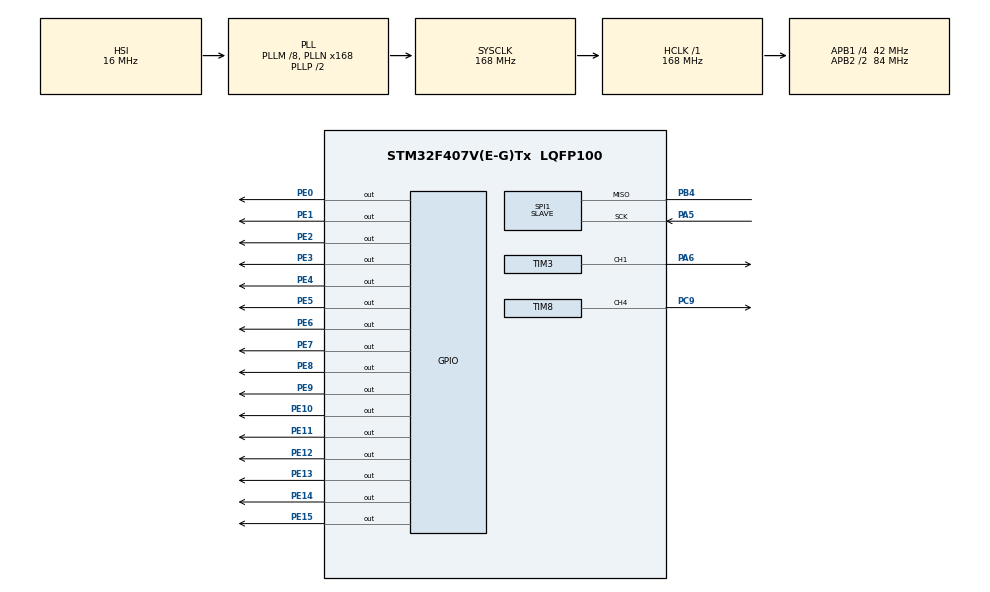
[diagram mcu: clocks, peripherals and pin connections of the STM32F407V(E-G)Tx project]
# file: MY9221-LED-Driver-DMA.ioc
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Dma.MEMTOMEM.0.Direction=DMA_MEMORY_TO_MEMORY
Dma.MEMTOMEM.0.FIFOMode=DMA_FIFOMODE_ENABLE
Dma.MEMTOMEM.0.FIFOThreshold=DMA_FIFO_THRESHOLD_1QUARTERFULL
Dma.MEMTOMEM.0.Instance=DMA2_Stream1
Dma.MEMTOMEM.0.MemBurst=DMA_MBURST_SINGLE
Dma.MEMTOMEM.0.MemDataAlignment=DMA_MDATAALIGN_WORD
Dma.MEMTOMEM.0.MemInc=DMA_MINC_DISABLE
Dma.MEMTOMEM.0.Mode=DMA_NORMAL
Dma.MEMTOMEM.0.PeriphBurst=DMA_PBURST_SINGLE
Dma.MEMTOMEM.0.PeriphDataAlignment=DMA_PDATAALIGN_WORD
Dma.MEMTOMEM.0.PeriphInc=DMA_PINC_DISABLE
Dma.MEMTOMEM.0.Priority=DMA_PRIORITY_MEDIUM
Dma.Request0=MEMTOMEM
Mcu.Family=STM32F4
Mcu.Name=STM32F407V(E-G)Tx
Mcu.Package=LQFP100
NVIC.PriorityGroup=NVIC_PRIORITYGROUP_0
NVIC.TIM8_UP_TIM13_IRQn=true\:0\:0\:false\:false\:true\:true\:true
PA5.Mode=Simplex_Bidirectional_Slave
PA5.Signal=SPI1_SCK
PA6.Signal=S_TIM3_CH1
PB4.Mode=Simplex_Bidirectional_Slave
PB4.Signal=SPI1_MISO
PC9.Signal=S_TIM8_CH4
PE0.Signal=GPIO_Output
PE1.Signal=GPIO_Output
PE10.Signal=GPIO_Output
PE11.Signal=GPIO_Output
PE12.Signal=GPIO_Output
PE13.Signal=GPIO_Output
PE14.Signal=GPIO_Output
PE15.Signal=GPIO_Output
PE2.Signal=GPIO_Output
PE3.Signal=GPIO_Output
PE4.Signal=GPIO_Output
PE5.Signal=GPIO_Output
PE6.Signal=GPIO_Output
PE7.Signal=GPIO_Output
PE8.Signal=GPIO_Output
PE9.Signal=GPIO_Output
ProjectManager.HeapSize=0x200
ProjectManager.StackSize=0x400
ProjectManager.TargetToolchain=STM32CubeIDE
RCC.48MHZClocksFreq_Value=48000000
RCC.AHBFreq_Value=168000000
RCC.APB1CLKDivider=RCC_HCLK_DIV4
RCC.APB1Freq_Value=42000000
RCC.APB1TimFreq_Value=84000000
RCC.APB2CLKDivider=RCC_HCLK_DIV2
RCC.APB2Freq_Value=84000000
RCC.APB2TimFreq_Value=168000000
RCC.CortexFreq_Value=168000000
RCC.HCLKFreq_Value=168000000
RCC.HSE_VALUE=8000000
RCC.HSI_VALUE=16000000
RCC.LSE_VALUE=32768
RCC.PLLM=8
RCC.PLLN=168
RCC.PLLQ=7
RCC.SYSCLKFreq_VALUE=168000000
RCC.SYSCLKSource=RCC_SYSCLKSOURCE_PLLCLK
RCC.VCOOutputFreq_Value=336000000
SH.S_TIM3_CH1.0=TIM3_CH1,PWM Generation1 CH1
SH.S_TIM8_CH4.0=TIM8_CH4,PWM Generation4 CH4
SPI1.Direction=SPI_DIRECTION_1LINE
SPI1.Mode=SPI_MODE_SLAVE
SPI1.VirtualType=VM_SLAVE
TIM3.AutoReloadPreload=TIM_AUTORELOAD_PRELOAD_ENABLE
TIM3.Channel-PWM\ Generation1\ CH1=TIM_CHANNEL_1
TIM3.Period=100
TIM8.AutoReloadPreload=TIM_AUTORELOAD_PRELOAD_ENABLE
TIM8.Channel-PWM\ Generation4\ CH4=TIM_CHANNEL_4
TIM8.Period=100
VP_TIM3_VS_ClockSourceINT.Mode=Internal
VP_TIM8_VS_ClockSourceINT.Mode=Internal
board=STM32F407G-DISC1

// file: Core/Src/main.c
/* USER CODE BEGIN Header */
/**
  ******************************************************************************
  * @file           : main.c
  * @brief          : Main program body
  ******************************************************************************
  * @attention
  *
  * <h2><center>&copy; Copyright (c) 2021 STMicroelectronics.
  * All rights reserved.</center></h2>
  *
  * This software component is licensed by ST under Ultimate Liberty license
  * SLA0044, the "License"; You may not use this file except in compliance with
  * the License. You may obtain a copy of the License at:
  *                             www.st.com/SLA0044
  *
  ******************************************************************************
  */
/* USER CODE END Header */
#include "main.h"

/* USER CODE BEGIN Includes */
#include "stdbool.h"
#include <MY9221.h>
/* USER CODE END Includes */

/* USER CODE BEGIN PD */
#define period_data 90
#define period_clk 90

#define hspd 	0
/* HSPD: Iout Tr/Tf select
 * 0: Iout slow mode
 * 1: Iout fast mode
*/
#define bs 		0
/* BS: Grayscale resolution select
 * 0: 8-bit grayscale application
 * 1: 12-bit grayscale application
 * 2: 14-bit grayscale application
 * 3: 16-bit grayscale application
 */
#define gck		0
/* GCK: Internal oscillator frequency select
 * 0: Original frequency (8.6MHz)
 * 1: Original frequency/2
 * 2: Original frequency/4
 * 3: Original frequency/8
 * 4: Original frequency/16
 * 5: Original frequency/64
 * 6: Original frequency/128
 * 7: Original frequency/256
*/
#define sep		0
/* SEP: Output waveform select
 * 0: PY-PWM output waveform (similar to traditional waveform)
 * 1: APDM output waveform
*/
#define osc		0
/* OSC: Grayscale clock source select
 * 0: Internal oscillator (8.6MHZ) (internal GCK source)
 * 1: External clock from GCKI pin (external GCK source)
*/
#define pol		0
/* POL: Output polarity select
 * 0: work as LED driver
 * 1: work as MY-PWM/APDM generator
*/
#define cntset	0
/* CNTSET: Counter reset select
 * 0: free running mode
 * 1: counter reset mode (only usable when osc = '1')
*/
#define onest	0
/* ONEST: One-shot select
 * 0: frame cycle repeat mode
 * 1: frame cycle one-shot mode (only usable when cntset = '1')
*/
/* USER CODE END PD */

SPI_HandleTypeDef hspi1;

TIM_HandleTypeDef htim3;
TIM_HandleTypeDef htim8;

DMA_HandleTypeDef hdma_memtomem_dma2_stream1;
/* USER CODE BEGIN PV */
uint32_t w[] = {
		  0xffffffff, 0x00000000, 0xffffffff, 0x00000000,
		  0xffffffff, 0x00000000, 0xffffffff, 0x00000000};
//int InputCounter = {0};

uint32_t w1 = 0x0000ffff; //Sets each port
uint32_t w2 = 0xffff0000; //Resets each port

uint32_t SetAll = 0x0000ffff; //Sets each port
uint32_t ResetAll = 0xffff0000; //Resets each port

bool CMDArray[16];
bool GrayscaleArray[192];
bool ColorArray[8] = {true,false,false,false,false,false,false,true}; //Make sure length matches selected grayscale!
//int DataArray[208];
uint32_t InputArray[208];
short int InputCounter = 0;
short int SwitchCounter = 1000;

/* USER CODE END PV */

void SystemClock_Config(void);
static void MX_GPIO_Init(void);
static void MX_DMA_Init(void);
static void MX_TIM3_Init(void);
static void MX_TIM8_Init(void);
static void MX_SPI1_Init(void);
/* USER CODE BEGIN PFP */
void uS_Delay(int);

/* USER CODE END PFP */

int main(void)
{

  /* MCU Configuration--------------------------------------------------------*/

  /* Reset of all peripherals, Initializes the Flash interface and the Systick. */
  HAL_Init();

  /* USER CODE BEGIN Init */
  CMDArray_Init(CMDArray, hspd, bs, gck, sep, osc, pol, cntset, onest);
  Grayscale_Init(GrayscaleArray, bs, ColorArray);
  InputArray_Init(InputArray, CMDArray, GrayscaleArray);

  /* USER CODE END Init */

  /* Configure the system clock */
  SystemClock_Config();

  /* Initialize all configured peripherals */
  MX_GPIO_Init();
  MX_DMA_Init();
  MX_TIM3_Init();
  MX_TIM8_Init();
  MX_SPI1_Init();

  /* Infinite loop */
  /* USER CODE BEGIN WHILE */
  htim3.Instance->CCR1 = (int)(period_clk/2);
  htim8.Instance->CCR4 = (int)(period_data/2);

  // Set GPIOA6 to TIM output
  GPIOA->MODER |= (1<<13);
  GPIOA->AFR[0] |= (1<<25);
  //GPIOA->OSPEEDR |= (0b10 << 12);

  //Set GPIOC9 to TIM output
  //GPIOC->MODER |= (1<<19);
  //GPIOC->AFR[1] |= (1<<4);

  //Set GPIOC9 to GPIO output
  GPIOC->MODER &= ~(1<<19);
  GPIOC->MODER |= (1<<18);

  //Set DMA
  /*
  DMA2_Stream1->CR &= ~(0b1);		 // Disable stream before config
  DMA2_Stream1->NDTR = 0x1;			 // 1 data item to be transmitted
  DMA2_Stream1->CR |= (0b111 << 25); // Channel 7 selected
  DMA2_Stream1->CR |= (0b10 << 13);	 // word (32-bit) selected (memory)
  DMA2_Stream1->CR |= (0b10 << 11);  // word (32-bit) selected (peripheral)
  DMA2_Stream1->CR |= (0b10 << 6);	 // Data transfer direction

  DMA2_Stream1->PAR = (uint32_t)&w2;	 // Set peripheral address to start w2 array
  DMA2_Stream1->M0AR = 0x40021018;			 // Set memory address to GPIOE->BSRR

  DMA2_Stream1->FCR |= (0b1 << 2);		// Disable direct mode
  DMA2_Stream1->CR |= (0b1);		 // Enable stream before config
  //DMA_Cmd(DMA2_Channel7, ENABLE); */

  DMA2_Stream1->CR |= (0b111 << 25); // Channel 7 selected
  DMA2_Stream1->NDTR = 0x1;			 // 1 data item to be transmitted
  DMA2_Stream1->FCR |= (0b1 << 2);	 // Disable direct mode

  //HAL_DMA_Start_IT(DMA2_Stream1, (uint32_t)&w2, 0x40021018, 32);
  //DMA2_Stream1->State = HAL_DMA_STATE_BUSY;
  //DMA2_Stream1->ErrorCode = HAL_DMA_ERROR_NONE;
  //DMA_SetConfig(DMA2_Stream1, (uint32_t)&w2, 0x40021018, 32);
  DMA2_Stream1->PAR = (uint32_t)&w1;	 // Set peripheral address to start w2 array
  DMA2_Stream1->M0AR = 0x40021018;			 // Set memory address to GPIOE->BSRR
  DMA2_Stream1->NDTR = 1;
  //regs->IFCR = 0x3FU << DMA2_Stream1->StreamIndex;
  //DMA2_Stream1->Instance->CR  |= DMA_IT_TC | DMA_IT_TE | DMA_IT_DME;
  //__HAL_DMA_ENABLE(DMA2_Stream1);
  //DMA2_Stream1->CR |= (0b1 << 4);
  TIM8->CR2 |= (0b1 << 3);
  DMA2_Stream1->CR |= (0b1);

  HAL_TIM_PWM_Start(&htim3, TIM_CHANNEL_1);
  HAL_TIM_Base_Start_IT(&htim3);
  HAL_TIM_PWM_Start(&htim8, TIM_CHANNEL_4);
  HAL_TIM_Base_Start_IT(&htim8);

  while (1)
  {
    /* USER CODE END WHILE */

    /* USER CODE BEGIN 3 */
	if (InputCounter == 208)
	{
		__disable_irq();
		HAL_TIM_PWM_Stop(&htim3, TIM_CHANNEL_1);

		GPIOA->MODER &= ~(1<<13);
		GPIOA->MODER |= (1<<12);
		GPIOA->BSRR |= (1<<22);

		GPIOE->BSRR = ResetAll;
		//HAL_Delay(2);
		uS_Delay(40000);
		//Toggle Data lines 4 times;
		GPIOE->BSRR = SetAll;
		uS_Delay(100);
		GPIOE->BSRR = ResetAll;
		uS_Delay(100);
		GPIOE->BSRR = SetAll;
		uS_Delay(100);
		GPIOE->BSRR = ResetAll;
		uS_Delay(100);
		GPIOE->BSRR = SetAll;
		uS_Delay(100);
		GPIOE->BSRR = ResetAll;
		uS_Delay(100);
		GPIOE->BSRR = SetAll;
		uS_Delay(100);
		GPIOE->BSRR = ResetAll;
		uS_Delay(20000);

		SwitchCounter--;
		if (SwitchCounter == 0)
		{
			if (ColorArray[0] == true)
			{
				ColorArray[0] = false;
				ColorArray[7] = true;
			}
			else
			{
				ColorArray[0] = true;
				ColorArray[7] = false;
			}
			SwitchCounter = 1000;
			CMDArray_Init(CMDArray, hspd, bs, gck, sep, osc, pol, cntset, onest);
			Grayscale_Init(GrayscaleArray, bs, ColorArray);
			InputArray_Init(InputArray, CMDArray, GrayscaleArray);
		}

		InputCounter = 0;

		GPIOA->MODER |= (1<<13);	// Set back to AF (TIM)
		GPIOA->MODER &= ~(1<<12);

		HAL_TIM_PWM_Start(&htim3, TIM_CHANNEL_1);
		__enable_irq();
	}

  }
  /* USER CODE END 3 */
}

void SystemClock_Config(void)
{
  RCC_OscInitTypeDef RCC_OscInitStruct = {0};
  RCC_ClkInitTypeDef RCC_ClkInitStruct = {0};

  /** Configure the main internal regulator output voltage
  */
  __HAL_RCC_PWR_CLK_ENABLE();
  __HAL_PWR_VOLTAGESCALING_CONFIG(PWR_REGULATOR_VOLTAGE_SCALE1);
  /** Initializes the RCC Oscillators according to the specified parameters
  * in the RCC_OscInitTypeDef structure.
  */
  RCC_OscInitStruct.OscillatorType = RCC_OSCILLATORTYPE_HSI;
  RCC_OscInitStruct.HSIState = RCC_HSI_ON;
  RCC_OscInitStruct.HSICalibrationValue = RCC_HSICALIBRATION_DEFAULT;
  RCC_OscInitStruct.PLL.PLLState = RCC_PLL_ON;
  RCC_OscInitStruct.PLL.PLLSource = RCC_PLLSOURCE_HSI;
  RCC_OscInitStruct.PLL.PLLM = 8;
  RCC_OscInitStruct.PLL.PLLN = 168;
  RCC_OscInitStruct.PLL.PLLP = RCC_PLLP_DIV2;
  RCC_OscInitStruct.PLL.PLLQ = 7;
  if (HAL_RCC_OscConfig(&RCC_OscInitStruct) != HAL_OK)
  {
    Error_Handler();
  }
  /** Initializes the CPU, AHB and APB buses clocks
  */
  RCC_ClkInitStruct.ClockType = RCC_CLOCKTYPE_HCLK|RCC_CLOCKTYPE_SYSCLK
                              |RCC_CLOCKTYPE_PCLK1|RCC_CLOCKTYPE_PCLK2;
  RCC_ClkInitStruct.SYSCLKSource = RCC_SYSCLKSOURCE_PLLCLK;
  RCC_ClkInitStruct.AHBCLKDivider = RCC_SYSCLK_DIV1;
  RCC_ClkInitStruct.APB1CLKDivider = RCC_HCLK_DIV4;
  RCC_ClkInitStruct.APB2CLKDivider = RCC_HCLK_DIV2;

  if (HAL_RCC_ClockConfig(&RCC_ClkInitStruct, FLASH_LATENCY_5) != HAL_OK)
  {
    Error_Handler();
  }
}

static void MX_SPI1_Init(void)
{

  /* SPI1 parameter configuration*/
  hspi1.Instance = SPI1;
  hspi1.Init.Mode = SPI_MODE_SLAVE;
  hspi1.Init.Direction = SPI_DIRECTION_1LINE;
  hspi1.Init.DataSize = SPI_DATASIZE_8BIT;
  hspi1.Init.CLKPolarity = SPI_POLARITY_LOW;
  hspi1.Init.CLKPhase = SPI_PHASE_1EDGE;
  hspi1.Init.NSS = SPI_NSS_SOFT;
  hspi1.Init.FirstBit = SPI_FIRSTBIT_MSB;
  hspi1.Init.TIMode = SPI_TIMODE_DISABLE;
  hspi1.Init.CRCCalculation = SPI_CRCCALCULATION_DISABLE;
  hspi1.Init.CRCPolynomial = 10;
  if (HAL_SPI_Init(&hspi1) != HAL_OK)
  {
    Error_Handler();
  }

}

static void MX_TIM3_Init(void)
{

  TIM_ClockConfigTypeDef sClockSourceConfig = {0};
  TIM_MasterConfigTypeDef sMasterConfig = {0};
  TIM_OC_InitTypeDef sConfigOC = {0};

  htim3.Instance = TIM3;
  htim3.Init.Prescaler = 0;
  htim3.Init.CounterMode = TIM_COUNTERMODE_UP;
  htim3.Init.Period = 100;
  htim3.Init.ClockDivision = TIM_CLOCKDIVISION_DIV1;
  htim3.Init.AutoReloadPreload = TIM_AUTORELOAD_PRELOAD_ENABLE;
  if (HAL_TIM_Base_Init(&htim3) != HAL_OK)
  {
    Error_Handler();
  }
  sClockSourceConfig.ClockSource = TIM_CLOCKSOURCE_INTERNAL;
  if (HAL_TIM_ConfigClockSource(&htim3, &sClockSourceConfig) != HAL_OK)
  {
    Error_Handler();
  }
  if (HAL_TIM_PWM_Init(&htim3) != HAL_OK)
  {
    Error_Handler();
  }
  sMasterConfig.MasterOutputTrigger = TIM_TRGO_RESET;
  sMasterConfig.MasterSlaveMode = TIM_MASTERSLAVEMODE_DISABLE;
  if (HAL_TIMEx_MasterConfigSynchronization(&htim3, &sMasterConfig) != HAL_OK)
  {
    Error_Handler();
  }
  sConfigOC.OCMode = TIM_OCMODE_PWM1;
  sConfigOC.Pulse = 0;
  sConfigOC.OCPolarity = TIM_OCPOLARITY_HIGH;
  sConfigOC.OCFastMode = TIM_OCFAST_DISABLE;
  if (HAL_TIM_PWM_ConfigChannel(&htim3, &sConfigOC, TIM_CHANNEL_1) != HAL_OK)
  {
    Error_Handler();
  }
  HAL_TIM_MspPostInit(&htim3);

}

static void MX_TIM8_Init(void)
{

  TIM_ClockConfigTypeDef sClockSourceConfig = {0};
  TIM_MasterConfigTypeDef sMasterConfig = {0};
  TIM_OC_InitTypeDef sConfigOC = {0};
  TIM_BreakDeadTimeConfigTypeDef sBreakDeadTimeConfig = {0};

  htim8.Instance = TIM8;
  htim8.Init.Prescaler = 0;
  htim8.Init.CounterMode = TIM_COUNTERMODE_UP;
  htim8.Init.Period = 100;
  htim8.Init.ClockDivision = TIM_CLOCKDIVISION_DIV1;
  htim8.Init.RepetitionCounter = 0;
  htim8.Init.AutoReloadPreload = TIM_AUTORELOAD_PRELOAD_ENABLE;
  if (HAL_TIM_Base_Init(&htim8) != HAL_OK)
  {
    Error_Handler();
  }
  sClockSourceConfig.ClockSource = TIM_CLOCKSOURCE_INTERNAL;
  if (HAL_TIM_ConfigClockSource(&htim8, &sClockSourceConfig) != HAL_OK)
  {
    Error_Handler();
  }
  if (HAL_TIM_PWM_Init(&htim8) != HAL_OK)
  {
    Error_Handler();
  }
  sMasterConfig.MasterOutputTrigger = TIM_TRGO_RESET;
  sMasterConfig.MasterSlaveMode = TIM_MASTERSLAVEMODE_DISABLE;
  if (HAL_TIMEx_MasterConfigSynchronization(&htim8, &sMasterConfig) != HAL_OK)
  {
    Error_Handler();
  }
  sConfigOC.OCMode = TIM_OCMODE_PWM1;
  sConfigOC.Pulse = 0;
  sConfigOC.OCPolarity = TIM_OCPOLARITY_HIGH;
  sConfigOC.OCFastMode = TIM_OCFAST_DISABLE;
  sConfigOC.OCIdleState = TIM_OCIDLESTATE_RESET;
  sConfigOC.OCNIdleState = TIM_OCNIDLESTATE_RESET;
  if (HAL_TIM_PWM_ConfigChannel(&htim8, &sConfigOC, TIM_CHANNEL_4) != HAL_OK)
  {
    Error_Handler();
  }
  sBreakDeadTimeConfig.OffStateRunMode = TIM_OSSR_DISABLE;
  sBreakDeadTimeConfig.OffStateIDLEMode = TIM_OSSI_DISABLE;
  sBreakDeadTimeConfig.LockLevel = TIM_LOCKLEVEL_OFF;
  sBreakDeadTimeConfig.DeadTime = 0;
  sBreakDeadTimeConfig.BreakState = TIM_BREAK_DISABLE;
  sBreakDeadTimeConfig.BreakPolarity = TIM_BREAKPOLARITY_HIGH;
  sBreakDeadTimeConfig.AutomaticOutput = TIM_AUTOMATICOUTPUT_DISABLE;
  if (HAL_TIMEx_ConfigBreakDeadTime(&htim8, &sBreakDeadTimeConfig) != HAL_OK)
  {
    Error_Handler();
  }
  HAL_TIM_MspPostInit(&htim8);

}

static void MX_DMA_Init(void)
{

  /* DMA controller clock enable */
  __HAL_RCC_DMA2_CLK_ENABLE();

  /* Configure DMA request hdma_memtomem_dma2_stream1 on DMA2_Stream1 */
  hdma_memtomem_dma2_stream1.Instance = DMA2_Stream1;
  hdma_memtomem_dma2_stream1.Init.Channel = DMA_CHANNEL_0;
  hdma_memtomem_dma2_stream1.Init.Direction = DMA_MEMORY_TO_MEMORY;
  hdma_memtomem_dma2_stream1.Init.PeriphInc = DMA_PINC_DISABLE;
  hdma_memtomem_dma2_stream1.Init.MemInc = DMA_MINC_DISABLE;
  hdma_memtomem_dma2_stream1.Init.PeriphDataAlignment = DMA_PDATAALIGN_WORD;
  hdma_memtomem_dma2_stream1.Init.MemDataAlignment = DMA_MDATAALIGN_WORD;
  hdma_memtomem_dma2_stream1.Init.Mode = DMA_NORMAL;
  hdma_memtomem_dma2_stream1.Init.Priority = DMA_PRIORITY_MEDIUM;
  hdma_memtomem_dma2_stream1.Init.FIFOMode = DMA_FIFOMODE_ENABLE;
  hdma_memtomem_dma2_stream1.Init.FIFOThreshold = DMA_FIFO_THRESHOLD_1QUARTERFULL;
  hdma_memtomem_dma2_stream1.Init.MemBurst = DMA_MBURST_SINGLE;
  hdma_memtomem_dma2_stream1.Init.PeriphBurst = DMA_PBURST_SINGLE;
  if (HAL_DMA_Init(&hdma_memtomem_dma2_stream1) != HAL_OK)
  {
    Error_Handler( );
  }

}

static void MX_GPIO_Init(void)
{
  GPIO_InitTypeDef GPIO_InitStruct = {0};

  /* GPIO Ports Clock Enable */
  __HAL_RCC_GPIOE_CLK_ENABLE();
  __HAL_RCC_GPIOA_CLK_ENABLE();
  __HAL_RCC_GPIOC_CLK_ENABLE();
  __HAL_RCC_GPIOB_CLK_ENABLE();

  /*Configure GPIO pin Output Level */
  HAL_GPIO_WritePin(GPIOE, GPIO_PIN_2|GPIO_PIN_3|GPIO_PIN_4|GPIO_PIN_5
                          |GPIO_PIN_6|GPIO_PIN_7|GPIO_PIN_8|GPIO_PIN_9
                          |GPIO_PIN_10|GPIO_PIN_11|GPIO_PIN_12|GPIO_PIN_13
                          |GPIO_PIN_14|GPIO_PIN_15|GPIO_PIN_0|GPIO_PIN_1, GPIO_PIN_RESET);

  /*Configure GPIO pins : PE2 PE3 PE4 PE5
                           PE6 PE7 PE8 PE9
                           PE10 PE11 PE12 PE13
                           PE14 PE15 PE0 PE1 */
  GPIO_InitStruct.Pin = GPIO_PIN_2|GPIO_PIN_3|GPIO_PIN_4|GPIO_PIN_5
                          |GPIO_PIN_6|GPIO_PIN_7|GPIO_PIN_8|GPIO_PIN_9
                          |GPIO_PIN_10|GPIO_PIN_11|GPIO_PIN_12|GPIO_PIN_13
                          |GPIO_PIN_14|GPIO_PIN_15|GPIO_PIN_0|GPIO_PIN_1;
  GPIO_InitStruct.Mode = GPIO_MODE_OUTPUT_PP;
  GPIO_InitStruct.Pull = GPIO_NOPULL;
  GPIO_InitStruct.Speed = GPIO_SPEED_FREQ_LOW;
  HAL_GPIO_Init(GPIOE, &GPIO_InitStruct);

}

/* USER CODE BEGIN 4 */

void uS_Delay(int delay)
{
	CoreDebug->DEMCR |= CoreDebug_DEMCR_TRCENA_Msk;
	DWT->CYCCNT = 0;
	DWT->CTRL |= DWT_CTRL_CYCCNTENA_Msk;
	while ((DWT->CYCCNT) < delay)
	{
		;
	}
}

/* USER CODE END 4 */

void Error_Handler(void)
{
  __disable_irq();
  while (1)
  {
  }
}

/************************ (C) COPYRIGHT STMicroelectronics *****END OF FILE****/
